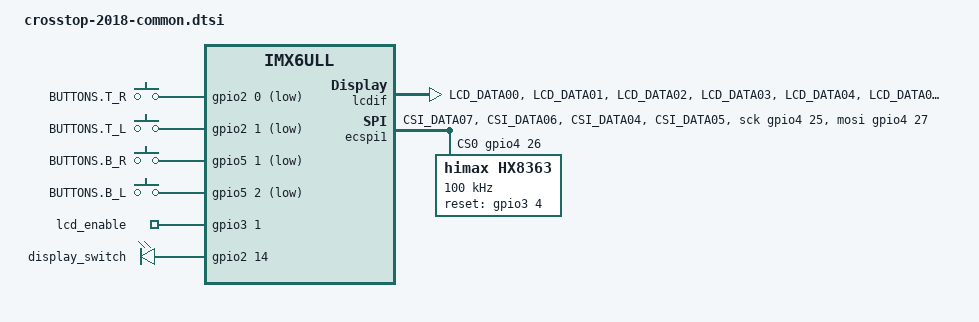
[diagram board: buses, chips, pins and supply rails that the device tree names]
/*
 * Copyright (C) 2020 CompeGPS Team S.L.
 * All rights reserved
 *
 */
/dts-v1/;

#include <dt-bindings/input/input.h>
#include "imx6ull.dtsi"
#include "imx6ul-imx6ull-var-dart-common.dtsi"

/ {
	keys {
		compatible = "gpio-keys";
		pinctrl-names = "default";
		pinctrl-0 = <&pinctrl_keys>;

		button_tr {
			label = "BUTTONS.T_R";
			gpios = <&gpio2 0 GPIO_ACTIVE_LOW>;
			linux,code = <KEY_F1>;
			gpio-key,wakeup;
		};

		button_tl {
			label = "BUTTONS.T_L";
			gpios = <&gpio2 1 GPIO_ACTIVE_LOW>;
			linux,code = <KEY_F2>;
			gpio-key,wakeup;
		};

		button_br {
			label = "BUTTONS.B_R";
			gpios = <&gpio5 1 GPIO_ACTIVE_LOW>;
			linux,code = <KEY_F4>;
			gpio-key,wakeup;
		};

		button_bl {
			label = "BUTTONS.B_L";
			gpios = <&gpio5 2 GPIO_ACTIVE_LOW>;
			linux,code = <KEY_F3>;
			gpio-key,wakeup;
		};	
	};

	lcd-control {
		compatible = "gpio-leds";
		lcd_enable {
			label = "lcd_enable";
			gpios = <&gpio3 1 GPIO_ACTIVE_HIGH>;
			default-state = "on";
		};
		display_switch {
			label = "display_switch";
			gpios = <&gpio2 14 GPIO_ACTIVE_HIGH>;
			default-state = "on";
        };

	};
};

&lcdif {
	pinctrl-names = "default";
	pinctrl-0 = <&pinctrl_lcdif_dat
		     &pinctrl_lcdif_ctrl>;
	display = <&display0>;
	status = "okay";

	display0: display {
		bits-per-pixel = <32>;
		bus-width = <24>;
		
		display-timings {
			native-mode = <&timing0>;
			timing0: timing0 {
				clock-frequency =<24570000>;
				hactive = <480>;
				vactive = <800>;
				hfront-porch = <8>;
				hback-porch = <10>;
				vback-porch = <2>;
				vfront-porch = <2>;
				hsync-len = <10>;
				vsync-len = <2>;
				hsync-active = <0>;
				vsync-active = <0>;
				de-active = <1>;
				pixelclk-active = <1>;
			};
		};
	};
};

&ecspi1 {
	fsl,spi-num-chipselects = <1>;
	pinctrl-names = "default";
	pinctrl-0 = <&pinctrl_ecspi1_1>;
	status = "okay";
	gpio-sck = <&gpio4 25 0>;
	cs-gpios = <&gpio4 26 0>;
	gpio-mosi = <&gpio4 27 0>;
	//gpio-miso = <&gpio4 28 0>; // not connected - not used
	//num-chipselects = <1>; // unknown

	hx8363: hx8363@0 {
		compatible = "himax,hx8363";
		reg = <0>;
		spi-max-frequency = <100000>;
		spi-cpol;
		spi-cpha;
		gpios-reset = <&gpio3 4 0>;
	};
};


&iomuxc {
	pinctrl-names = "default";
	pinctrl-0 = <&pinctrl_hog_1>;
	imx6ul-evk {		
		pinctrl_lcdif_ctrl: lcdifctrlgrp {
			fsl,pins = <
				MX6UL_PAD_LCD_CLK__LCDIF_CLK		0x79
				MX6UL_PAD_LCD_ENABLE__LCDIF_ENABLE	0x79
				MX6UL_PAD_LCD_HSYNC__LCDIF_HSYNC	0x79
				MX6UL_PAD_LCD_VSYNC__LCDIF_VSYNC	0x79
				MX6UL_PAD_LCD_RESET__GPIO3_IO04		0x1b0b1
				MX6UL_PAD_ENET2_TX_CLK__GPIO2_IO14	0x1b0b0 /* DISPLAY_SWITCH */
			>;
		};

		pinctrl_lcdif_dat: lcdifdatgrp {
			fsl,pins = <
				MX6UL_PAD_LCD_DATA00__LCDIF_DATA00	0x79
				MX6UL_PAD_LCD_DATA01__LCDIF_DATA01	0x79
				MX6UL_PAD_LCD_DATA02__LCDIF_DATA02	0x79
				MX6UL_PAD_LCD_DATA03__LCDIF_DATA03	0x79
				MX6UL_PAD_LCD_DATA04__LCDIF_DATA04	0x79
				MX6UL_PAD_LCD_DATA05__LCDIF_DATA05	0x79
				MX6UL_PAD_LCD_DATA06__LCDIF_DATA06	0x79
				MX6UL_PAD_LCD_DATA07__LCDIF_DATA07	0x79
				MX6UL_PAD_LCD_DATA08__LCDIF_DATA08	0x79
				MX6UL_PAD_LCD_DATA09__LCDIF_DATA09	0x79
				MX6UL_PAD_LCD_DATA10__LCDIF_DATA10	0x79
				MX6UL_PAD_LCD_DATA11__LCDIF_DATA11	0x79
				MX6UL_PAD_LCD_DATA12__LCDIF_DATA12	0x79
				MX6UL_PAD_LCD_DATA13__LCDIF_DATA13	0x79
				MX6UL_PAD_LCD_DATA14__LCDIF_DATA14	0x79
				MX6UL_PAD_LCD_DATA15__LCDIF_DATA15	0x79
				MX6UL_PAD_LCD_DATA16__LCDIF_DATA16	0x79
				MX6UL_PAD_LCD_DATA17__LCDIF_DATA17	0x79
				MX6UL_PAD_LCD_DATA18__LCDIF_DATA18	0x79
				MX6UL_PAD_LCD_DATA19__LCDIF_DATA19	0x79
				MX6UL_PAD_LCD_DATA20__LCDIF_DATA20	0x79
				MX6UL_PAD_LCD_DATA21__LCDIF_DATA21	0x79
				MX6UL_PAD_LCD_DATA22__LCDIF_DATA22	0x79
				MX6UL_PAD_LCD_DATA23__LCDIF_DATA23	0x79
			>;
		};

		pinctrl_ecspi1_1: ecspi1grp {
			fsl,pins = <
				MX6UL_PAD_CSI_DATA07__ECSPI1_MISO       0x100b1
				MX6UL_PAD_CSI_DATA06__ECSPI1_MOSI       0x100b1
				MX6UL_PAD_CSI_DATA04__ECSPI1_SCLK       0x100b1
				MX6UL_PAD_CSI_DATA05__GPIO4_IO26        0x100b1				
			>;
		};

		pinctrl_keys: keys1grp {
			fsl,pins = <
				MX6UL_PAD_ENET1_RX_DATA1__GPIO2_IO01	0x1b0b0 
				MX6UL_PAD_ENET1_RX_DATA0__GPIO2_IO00	0x1b0b0 
				MX6UL_PAD_SNVS_TAMPER1__GPIO5_IO01		0x110b0
				MX6UL_PAD_SNVS_TAMPER2__GPIO5_IO02		0x110b0				
			>;
		};	
	};
};	

